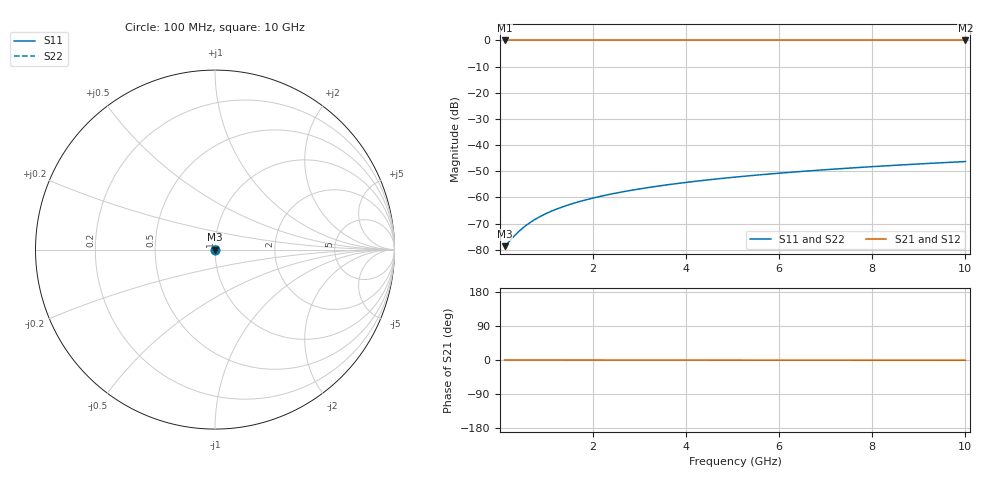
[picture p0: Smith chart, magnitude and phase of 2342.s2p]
# Hz S RI R 50.00
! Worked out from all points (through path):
!   100 points, 100 MHz to 10 GHz, reference 50 ohm
!   highest |S21| = 0.00 dB at 100 MHz (marker M1); lowest = 0.0 dB at 10 GHz (marker M2)
!   lowest |S11| = -78.7 dB at 100 MHz (marker M3), VSWR 1.00, Z = 50 + j0.00482 ohm
!   |S11| at or under -10 dB: start of sweep to end of sweep
!   |S22| runs from -78.7 to -46.3 dB; largest |S21 - S12| = 0
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1e8  0.000106 4.82e-05  0.9999 -0.000116  0.9999 -0.000116  0.000106 4.82e-05
2e8  0.000107 9.65e-05  0.9999 -0.000232  0.9999 -0.000232  0.000107 9.65e-05
3e8  0.000108 0.000145  0.9999 -0.000348  0.9999 -0.000348  0.000108 0.000145
4e8  0.000108 0.000193  0.9999 -0.000464  0.9999 -0.000464  0.000108 0.000193
5e8  0.000108 0.000241  0.9999 -0.00058  0.9999 -0.00058  0.000108 0.000241
6e8  0.000109 0.000289  0.9999 -0.000696  0.9999 -0.000696  0.000109 0.000289
7e8  0.000109 0.000338  0.9999 -0.000813  0.9999 -0.000813  0.000109 0.000338
8e8  0.000109 0.000386  0.9999 -0.000929  0.9999 -0.000929  0.000109 0.000386
1e9  0.00011 0.000482  0.9999 -0.00116  0.9999 -0.00116  0.00011 0.000482
1.2e9  0.000111 0.000579  0.9999 -0.00139  0.9999 -0.00139  0.000111 0.000579
1.5e9  0.000112 0.000723  0.9999 -0.00174  0.9999 -0.00174  0.000112 0.000723
1.8e9  0.000113 0.000868  0.9999 -0.00209  0.9999 -0.00209  0.000113 0.000868
2.1e9  0.000114 0.00101  0.9999 -0.00244  0.9999 -0.00244  0.000114 0.00101
2.5e9  0.000115 0.00121  0.9999 -0.0029  0.9999 -0.0029  0.000115 0.00121
2.9e9  0.000117 0.0014  0.9999 -0.00337  0.9999 -0.00337  0.000117 0.0014
3.4e9  0.000119 0.00164  0.9999 -0.00395  0.9999 -0.00395  0.000119 0.00164
4.2e9  0.000123 0.00203  0.9999 -0.00488  0.9999 -0.00488  0.000123 0.00203
5.1e9  0.000129 0.00246  0.9999 -0.00593  0.9999 -0.00593  0.000129 0.00246
5.9e9  0.000134 0.00285  0.9999 -0.00686  0.9999 -0.00686  0.000134 0.00285
6.7e9  0.000141 0.00324  0.9998 -0.00779  0.9998 -0.00779  0.000141 0.00324
8.4e9  0.000156 0.00406  0.9998 -0.00978  0.9998 -0.00978  0.000156 0.00406
1e10  0.000174 0.00484  0.9998 -0.0117  0.9998 -0.0117  0.000174 0.00484
